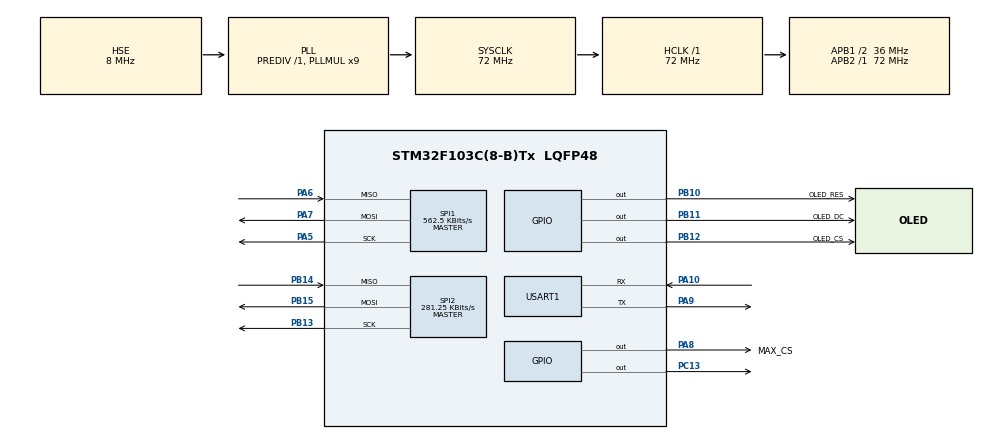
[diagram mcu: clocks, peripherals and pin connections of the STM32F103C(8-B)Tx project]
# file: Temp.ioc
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Mcu.Family=STM32F1
Mcu.Name=STM32F103C(8-B)Tx
Mcu.Package=LQFP48
NVIC.PriorityGroup=NVIC_PRIORITYGROUP_4
NVIC.USART1_IRQn=true\:0\:0\:false\:false\:true\:true\:true\:true
PA10.Mode=Asynchronous
PA10.Signal=USART1_RX
PA5.Mode=Full_Duplex_Master
PA5.Signal=SPI1_SCK
PA6.Mode=Full_Duplex_Master
PA6.Signal=SPI1_MISO
PA7.Mode=Full_Duplex_Master
PA7.Signal=SPI1_MOSI
PA8.GPIO_Label=MAX_CS
PA8.Signal=GPIO_Output
PA9.Mode=Asynchronous
PA9.Signal=USART1_TX
PB10.GPIO_Label=OLED_RES
PB10.Signal=GPIO_Output
PB11.GPIO_Label=OLED_DC
PB11.Signal=GPIO_Output
PB12.GPIO_Label=OLED_CS
PB12.Signal=GPIO_Output
PB13.Mode=Full_Duplex_Master
PB13.Signal=SPI2_SCK
PB14.Mode=Full_Duplex_Master
PB14.Signal=SPI2_MISO
PB15.Mode=Full_Duplex_Master
PB15.Signal=SPI2_MOSI
PC13-TAMPER-RTC.Signal=GPIO_Output
PD0-OSC_IN.Mode=HSE-External-Oscillator
PD0-OSC_IN.Signal=RCC_OSC_IN
PD1-OSC_OUT.Mode=HSE-External-Oscillator
PD1-OSC_OUT.Signal=RCC_OSC_OUT
ProjectManager.HeapSize=0x200
ProjectManager.StackSize=0x400
ProjectManager.TargetToolchain=STM32CubeIDE
RCC.AHBFreq_Value=72000000
RCC.APB1CLKDivider=RCC_HCLK_DIV2
RCC.APB1Freq_Value=36000000
RCC.APB1TimFreq_Value=72000000
RCC.APB2Freq_Value=72000000
RCC.APB2TimFreq_Value=72000000
RCC.HCLKFreq_Value=72000000
RCC.PLLMUL=RCC_PLL_MUL9
RCC.PLLSourceVirtual=RCC_PLLSOURCE_HSE
RCC.SYSCLKFreq_VALUE=72000000
RCC.SYSCLKSource=RCC_SYSCLKSOURCE_PLLCLK
RCC.USBFreq_Value=72000000
SPI1.BaudRatePrescaler=SPI_BAUDRATEPRESCALER_128
SPI1.CalculateBaudRate=562.5 KBits/s
SPI1.Direction=SPI_DIRECTION_2LINES
SPI1.Mode=SPI_MODE_MASTER
SPI1.VirtualType=VM_MASTER
SPI2.BaudRatePrescaler=SPI_BAUDRATEPRESCALER_128
SPI2.CLKPhase=SPI_PHASE_2EDGE
SPI2.CalculateBaudRate=281.25 KBits/s
SPI2.Direction=SPI_DIRECTION_2LINES
SPI2.Mode=SPI_MODE_MASTER
SPI2.VirtualType=VM_MASTER
USART1.VirtualMode=VM_ASYNC
board=custom

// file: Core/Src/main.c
/* USER CODE BEGIN Header */
/**
  ******************************************************************************
  * @file           : main.c
  * @brief          : Main program body
  ******************************************************************************
  * @attention
  *
  * Copyright (c) 2025 STMicroelectronics.
  * All rights reserved.
  *
  * This software is licensed under terms that can be found in the LICENSE file
  * in the root directory of this software component.
  * If no LICENSE file comes with this software, it is provided AS-IS.
  *
  ******************************************************************************
  */
/* USER CODE END Header */
#include "main.h"

/* USER CODE BEGIN Includes */
#include "ssd1306.h"
#include "ssd1306_fonts.h"
//#include "ssd1306_tests.h"
#include "MAX31865.h"
#include <stdbool.h>
#include <stdlib.h>
#include <stdio.h>
#include <string.h>

/* USER CODE END Includes */

SPI_HandleTypeDef hspi1;
SPI_HandleTypeDef hspi2;

UART_HandleTypeDef huart1;

/* USER CODE BEGIN PV */

extern uint8_t  rx_byte;

Max31865_t pt100;
//bool pt100isOK = false;

float temp_raw = 0.0f;
float temp_flt = 0.0f;

float   smm_buffer[SMM_MAX_N];
uint8_t smm_N      = 5;
uint8_t smm_count  = 0;
uint8_t smm_index  = 0;

volatile uint8_t measuring_enabled = 0;
volatile uint32_t T_ms = 1000;

uint32_t last_measurement_tick = 0;
uint32_t last_display_tick    = 0;

/* USER CODE END PV */

void SystemClock_Config(void);
static void MX_GPIO_Init(void);
static void MX_SPI1_Init(void);
static void MX_SPI2_Init(void);
static void MX_USART1_UART_Init(void);
/* USER CODE BEGIN PFP */
static void MX_MAX31865_Init(void);
float SMM_AddAndGetMedian(float x);

float read_raw_temperature(void);

void measure_and_filter(void);
void send_temperatures_uart(void);
void display_temperature(void);
void send_uart_text(const char *text);

/* USER CODE END PFP */

int main(void)
{

  /* MCU Configuration--------------------------------------------------------*/

  /* Reset of all peripherals, Initializes the Flash interface and the Systick. */
  HAL_Init();

  /* Configure the system clock */
  SystemClock_Config();

  /* Initialize all configured peripherals */
  MX_GPIO_Init();
  MX_SPI1_Init();
  MX_SPI2_Init();
  MX_USART1_UART_Init();
  /* USER CODE BEGIN 2 */
  ssd1306_Init();
  ssd1306_Fill(White);
  ssd1306_UpdateScreen();
  MX_MAX31865_Init();

  const char *hello = "HELLO FROM STM32\r\n";
  HAL_UART_Transmit(&huart1, (uint8_t*)hello, strlen(hello), 100);
HAL_UART_Receive_IT(&huart1, &rx_byte, 1);

  /* USER CODE END 2 */

  /* Infinite loop */
  while (1)
  {

    /* USER CODE BEGIN 3 */
	  uint32_t now = HAL_GetTick();

	  	  if (measuring_enabled && (now - last_measurement_tick >= T_ms))
	  	      {
	  	          last_measurement_tick = now;
	  	          measure_and_filter();        // функция чтения и фильтрации
	  	          send_temperatures_uart();    // отправка сырой + фильтрованной
	  	      }

	  	  if (now - last_display_tick >= 1000)
	  	      {
	  	          last_display_tick = now;
	  	          display_temperature();       // вывести temp_flt на OLED
	  	      }
  }
  /* USER CODE END 3 */
}

void SystemClock_Config(void)
{
  RCC_OscInitTypeDef RCC_OscInitStruct = {0};
  RCC_ClkInitTypeDef RCC_ClkInitStruct = {0};

  /** Initializes the RCC Oscillators according to the specified parameters
  * in the RCC_OscInitTypeDef structure.
  */
  RCC_OscInitStruct.OscillatorType = RCC_OSCILLATORTYPE_HSE;
  RCC_OscInitStruct.HSEState = RCC_HSE_ON;
  RCC_OscInitStruct.HSEPredivValue = RCC_HSE_PREDIV_DIV1;
  RCC_OscInitStruct.HSIState = RCC_HSI_ON;
  RCC_OscInitStruct.PLL.PLLState = RCC_PLL_ON;
  RCC_OscInitStruct.PLL.PLLSource = RCC_PLLSOURCE_HSE;
  RCC_OscInitStruct.PLL.PLLMUL = RCC_PLL_MUL9;
  if (HAL_RCC_OscConfig(&RCC_OscInitStruct) != HAL_OK)
  {
    Error_Handler();
  }

  /** Initializes the CPU, AHB and APB buses clocks
  */
  RCC_ClkInitStruct.ClockType = RCC_CLOCKTYPE_HCLK|RCC_CLOCKTYPE_SYSCLK
                              |RCC_CLOCKTYPE_PCLK1|RCC_CLOCKTYPE_PCLK2;
  RCC_ClkInitStruct.SYSCLKSource = RCC_SYSCLKSOURCE_PLLCLK;
  RCC_ClkInitStruct.AHBCLKDivider = RCC_SYSCLK_DIV1;
  RCC_ClkInitStruct.APB1CLKDivider = RCC_HCLK_DIV2;
  RCC_ClkInitStruct.APB2CLKDivider = RCC_HCLK_DIV1;

  if (HAL_RCC_ClockConfig(&RCC_ClkInitStruct, FLASH_LATENCY_2) != HAL_OK)
  {
    Error_Handler();
  }
}

static void MX_SPI1_Init(void)
{

  /* SPI1 parameter configuration*/
  hspi1.Instance = SPI1;
  hspi1.Init.Mode = SPI_MODE_MASTER;
  hspi1.Init.Direction = SPI_DIRECTION_2LINES;
  hspi1.Init.DataSize = SPI_DATASIZE_8BIT;
  hspi1.Init.CLKPolarity = SPI_POLARITY_LOW;
  hspi1.Init.CLKPhase = SPI_PHASE_1EDGE;
  hspi1.Init.NSS = SPI_NSS_SOFT;
  hspi1.Init.BaudRatePrescaler = SPI_BAUDRATEPRESCALER_128;
  hspi1.Init.FirstBit = SPI_FIRSTBIT_MSB;
  hspi1.Init.TIMode = SPI_TIMODE_DISABLE;
  hspi1.Init.CRCCalculation = SPI_CRCCALCULATION_DISABLE;
  hspi1.Init.CRCPolynomial = 10;
  if (HAL_SPI_Init(&hspi1) != HAL_OK)
  {
    Error_Handler();
  }

}

static void MX_SPI2_Init(void)
{

  /* SPI2 parameter configuration*/
  hspi2.Instance = SPI2;
  hspi2.Init.Mode = SPI_MODE_MASTER;
  hspi2.Init.Direction = SPI_DIRECTION_2LINES;
  hspi2.Init.DataSize = SPI_DATASIZE_8BIT;
  hspi2.Init.CLKPolarity = SPI_POLARITY_LOW;
  hspi2.Init.CLKPhase = SPI_PHASE_2EDGE;
  hspi2.Init.NSS = SPI_NSS_SOFT;
  hspi2.Init.BaudRatePrescaler = SPI_BAUDRATEPRESCALER_128;
  hspi2.Init.FirstBit = SPI_FIRSTBIT_MSB;
  hspi2.Init.TIMode = SPI_TIMODE_DISABLE;
  hspi2.Init.CRCCalculation = SPI_CRCCALCULATION_DISABLE;
  hspi2.Init.CRCPolynomial = 10;
  if (HAL_SPI_Init(&hspi2) != HAL_OK)
  {
    Error_Handler();
  }

}

static void MX_USART1_UART_Init(void)
{

  huart1.Instance = USART1;
  huart1.Init.BaudRate = 115200;
  huart1.Init.WordLength = UART_WORDLENGTH_8B;
  huart1.Init.StopBits = UART_STOPBITS_1;
  huart1.Init.Parity = UART_PARITY_NONE;
  huart1.Init.Mode = UART_MODE_TX_RX;
  huart1.Init.HwFlowCtl = UART_HWCONTROL_NONE;
  huart1.Init.OverSampling = UART_OVERSAMPLING_16;
  if (HAL_UART_Init(&huart1) != HAL_OK)
  {
    Error_Handler();
  }

}

static void MX_GPIO_Init(void)
{
  GPIO_InitTypeDef GPIO_InitStruct = {0};

  /* GPIO Ports Clock Enable */
  __HAL_RCC_GPIOC_CLK_ENABLE();
  __HAL_RCC_GPIOD_CLK_ENABLE();
  __HAL_RCC_GPIOA_CLK_ENABLE();
  __HAL_RCC_GPIOB_CLK_ENABLE();

  /*Configure GPIO pin Output Level */
  HAL_GPIO_WritePin(GPIOC, GPIO_PIN_13, GPIO_PIN_RESET);

  /*Configure GPIO pin Output Level */
  HAL_GPIO_WritePin(GPIOB, OLED_RES_Pin|OLED_DC_Pin|OLED_CS_Pin, GPIO_PIN_RESET);

  /*Configure GPIO pin Output Level */
  HAL_GPIO_WritePin(MAX_CS_GPIO_Port, MAX_CS_Pin, GPIO_PIN_RESET);

  /*Configure GPIO pin : PC13 */
  GPIO_InitStruct.Pin = GPIO_PIN_13;
  GPIO_InitStruct.Mode = GPIO_MODE_OUTPUT_PP;
  GPIO_InitStruct.Pull = GPIO_NOPULL;
  GPIO_InitStruct.Speed = GPIO_SPEED_FREQ_LOW;
  HAL_GPIO_Init(GPIOC, &GPIO_InitStruct);

  /*Configure GPIO pins : OLED_RES_Pin OLED_DC_Pin OLED_CS_Pin */
  GPIO_InitStruct.Pin = OLED_RES_Pin|OLED_DC_Pin|OLED_CS_Pin;
  GPIO_InitStruct.Mode = GPIO_MODE_OUTPUT_PP;
  GPIO_InitStruct.Pull = GPIO_NOPULL;
  GPIO_InitStruct.Speed = GPIO_SPEED_FREQ_LOW;
  HAL_GPIO_Init(GPIOB, &GPIO_InitStruct);

  /*Configure GPIO pin : MAX_CS_Pin */
  GPIO_InitStruct.Pin = MAX_CS_Pin;
  GPIO_InitStruct.Mode = GPIO_MODE_OUTPUT_PP;
  GPIO_InitStruct.Pull = GPIO_NOPULL;
  GPIO_InitStruct.Speed = GPIO_SPEED_FREQ_LOW;
  HAL_GPIO_Init(MAX_CS_GPIO_Port, &GPIO_InitStruct);

}

/* USER CODE BEGIN 4 */
	static void MX_MAX31865_Init(void)
	{
		Max31865_init(&pt100, &hspi2, MAX_CS_GPIO_Port, MAX_CS_Pin, 2, 50);
	}

	static int float_cmp(const void *a, const void *b)
	{
	    float fa = *(const float*)a;
	    float fb = *(const float*)b;
	    if (fa < fb) return -1;
	    if (fa > fb) return  1;
	    return 0;
	}

	float SMM_AddAndGetMedian(float x)
	{
	    smm_buffer[smm_index] = x;
	    smm_index = (smm_index + 1) % smm_N;
	    if (smm_count < smm_N) smm_count++;

	    float tmp[SMM_MAX_N];
	    for (uint8_t i = 0; i < smm_count; i++) {
	        tmp[i] = smm_buffer[i];
	    }
	    qsort(tmp, smm_count, sizeof(float), float_cmp);

	    uint8_t mid = smm_count / 2;
	    if (smm_count % 2) {
	        return tmp[mid];
	    } else {
	        return 0.5f * (tmp[mid - 1] + tmp[mid]);
	    }
	}

	float read_raw_temperature(void)
	{
		float t = 0.0f;
		bool ok = Max31865_readTempC(&pt100, &t);
	    return t;
	}

	void measure_and_filter(void)
	{
		temp_raw = read_raw_temperature();
		temp_flt = SMM_AddAndGetMedian(temp_raw);
	}

	void send_temperatures_uart(void)
	{
	    char buf[64];
	    // \x02 = STX, \n = LF
	    int len = snprintf(buf, sizeof(buf),
	                           "\x02 RAW %.2f FLT %.2f\r\n",
	                           temp_raw, temp_flt);
	    HAL_UART_Transmit(&huart1, (uint8_t*)buf, len, 100);
	}

	void display_temperature(void)
	{
	    ssd1306_Fill(Black);

	    char line[32];
	    snprintf(line, sizeof(line), "T=%.2f C", temp_flt);

	    ssd1306_SetCursor(0, 0);
	    ssd1306_WriteString(line, Font_16x24, White);

	    ssd1306_UpdateScreen();
	}

	void send_uart_text(const char *text)
	{
	    HAL_UART_Transmit(&huart1, (uint8_t*)text, strlen(text), 100);
	}

/* USER CODE END 4 */

void Error_Handler(void)
{
  __disable_irq();
  while (1)
  {
  }
}
